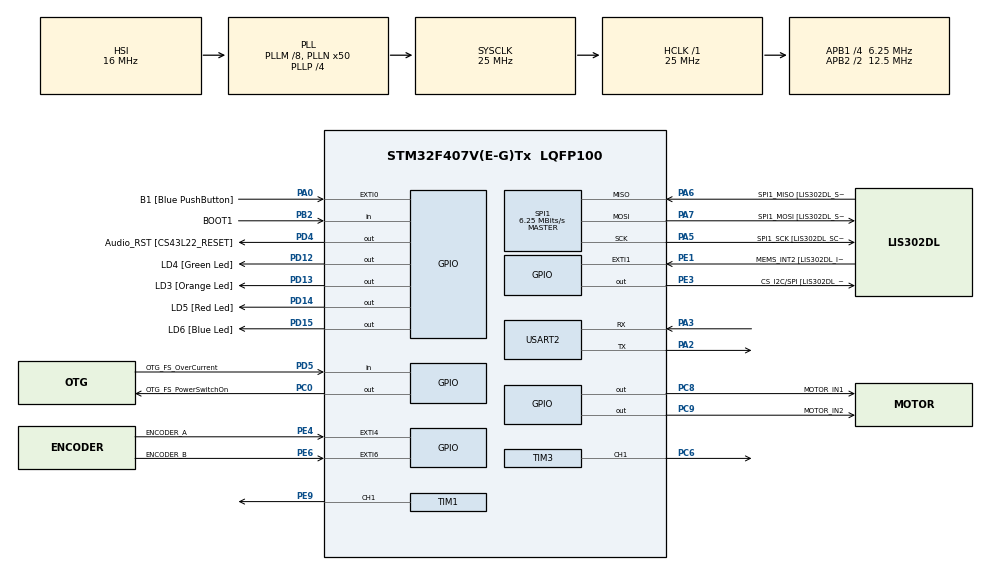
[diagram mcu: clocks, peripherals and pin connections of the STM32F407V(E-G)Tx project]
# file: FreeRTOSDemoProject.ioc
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Mcu.Family=STM32F4
Mcu.Name=STM32F407V(E-G)Tx
Mcu.Package=LQFP100
NVIC.EXTI4_IRQn=true\:0\:0\:false\:false\:true\:true\:true\:true
NVIC.EXTI9_5_IRQn=true\:0\:0\:false\:false\:true\:true\:true\:true
NVIC.PriorityGroup=NVIC_PRIORITYGROUP_4
NVIC.TIM6_DAC_IRQn=true\:15\:0\:false\:false\:true\:false\:true\:true
NVIC.TIM7_IRQn=true\:0\:0\:false\:false\:true\:true\:true\:true
NVIC.TimeBase=TIM6_DAC_IRQn
NVIC.TimeBaseIP=TIM6
NVIC.USART2_IRQn=true\:6\:0\:true\:false\:true\:true\:true\:true
PA0-WKUP.GPIO_Label=B1 [Blue PushButton]
PA0-WKUP.Signal=GPXTI0
PA10.GPIO_Label=OTG_FS_ID
PA10.GPIO_Mode=GPIO_MODE_AF_PP
PA10.GPIO_PuPd=GPIO_NOPULL
PA10.GPIO_Speed=GPIO_SPEED_FREQ_LOW
PA10.Signal=USB_OTG_FS_ID
PA11.GPIO_Label=OTG_FS_DM
PA11.GPIO_Mode=GPIO_MODE_AF_PP
PA11.GPIO_PuPd=GPIO_NOPULL
PA11.GPIO_Speed=GPIO_SPEED_FREQ_LOW
PA11.Signal=USB_OTG_FS_DM
PA12.GPIO_Label=OTG_FS_DP
PA12.GPIO_Mode=GPIO_MODE_AF_PP
PA12.GPIO_PuPd=GPIO_NOPULL
PA12.GPIO_Speed=GPIO_SPEED_FREQ_LOW
PA12.Signal=USB_OTG_FS_DP
PA13.GPIO_Label=SWDIO
PA13.Signal=SYS_JTMS-SWDIO
PA14.GPIO_Label=SWCLK
PA14.Signal=SYS_JTCK-SWCLK
PA2.Mode=Asynchronous
PA2.Signal=USART2_TX
PA3.Mode=Asynchronous
PA3.Signal=USART2_RX
PA4.GPIO_Label=I2S3_WS [CS43L22_LRCK]
PA4.GPIO_Mode=GPIO_MODE_AF_PP
PA4.GPIO_PuPd=GPIO_NOPULL
PA4.GPIO_Speed=GPIO_SPEED_FREQ_LOW
PA4.Signal=I2S3_WS
PA5.GPIO_Label=SPI1_SCK [LIS302DL_SCL/SPC]
PA5.GPIO_Mode=GPIO_MODE_AF_PP
PA5.GPIO_PuPd=GPIO_NOPULL
PA5.GPIO_Speed=GPIO_SPEED_FREQ_VERY_HIGH
PA5.Mode=Full_Duplex_Master
PA5.Signal=SPI1_SCK
PA6.GPIO_Label=SPI1_MISO [LIS302DL_SDO]
PA6.GPIO_Mode=GPIO_MODE_AF_PP
PA6.GPIO_PuPd=GPIO_NOPULL
PA6.GPIO_Speed=GPIO_SPEED_FREQ_VERY_HIGH
PA6.Mode=Full_Duplex_Master
PA6.Signal=SPI1_MISO
PA7.GPIO_Label=SPI1_MOSI [LIS302DL_SDA/SDI/SDO]
PA7.GPIO_Mode=GPIO_MODE_AF_PP
PA7.GPIO_PuPd=GPIO_NOPULL
PA7.GPIO_Speed=GPIO_SPEED_FREQ_VERY_HIGH
PA7.Mode=Full_Duplex_Master
PA7.Signal=SPI1_MOSI
PA9.GPIO_Label=VBUS_FS
PA9.GPIO_Mode=GPIO_MODE_INPUT
PA9.GPIO_PuPd=GPIO_NOPULL
PA9.Signal=USB_OTG_FS_VBUS
PB10.GPIO_Label=CLK_IN [MP45DT02_CLK]
PB10.GPIO_Mode=GPIO_MODE_AF_PP
PB10.GPIO_PuPd=GPIO_NOPULL
PB10.GPIO_Speed=GPIO_SPEED_FREQ_LOW
PB10.Signal=I2S2_CK
PB2.GPIO_Label=BOOT1
PB2.GPIO_Mode=GPIO_MODE_INPUT
PB2.GPIO_PuPd=GPIO_NOPULL
PB2.Signal=GPIO_Input
PB3.GPIO_Label=SWO
PB3.Signal=SYS_JTDO-SWO
PB6.GPIO_Label=Audio_SCL [CS43L22_SCL]
PB6.GPIO_Mode=GPIO_MODE_AF_OD
PB6.GPIO_Pu=GPIO_PULLUP
PB6.GPIO_PuPd=GPIO_NOPULL
PB6.GPIO_Speed=GPIO_SPEED_FREQ_HIGH
PB6.Signal=I2C1_SCL
PB9.GPIO_Label=Audio_SDA [CS43L22_SDA]
PB9.GPIO_Mode=GPIO_MODE_AF_OD
PB9.GPIO_Pu=GPIO_PULLUP
PB9.GPIO_PuPd=GPIO_NOPULL
PB9.GPIO_Speed=GPIO_SPEED_FREQ_HIGH
PB9.Signal=I2C1_SDA
PC0.GPIO_Label=OTG_FS_PowerSwitchOn
PC0.GPIO_PuPd=GPIO_NOPULL
PC0.GPIO_Speed=GPIO_SPEED_FREQ_LOW
PC0.PinState=GPIO_PIN_SET
PC0.Signal=GPIO_Output
PC10.GPIO_Label=I2S3_SCK [CS43L22_SCLK]
PC10.GPIO_Mode=GPIO_MODE_AF_PP
PC10.GPIO_PuPd=GPIO_NOPULL
PC10.GPIO_Speed=GPIO_SPEED_FREQ_LOW
PC10.Signal=I2S3_CK
PC12.GPIO_Label=I2S3_SD [CS43L22_SDIN]
PC12.GPIO_Mode=GPIO_MODE_AF_PP
PC12.GPIO_PuPd=GPIO_NOPULL
PC12.GPIO_Speed=GPIO_SPEED_FREQ_LOW
PC12.Signal=I2S3_SD
PC14-OSC32_IN.GPIO_Label=PC14-OSC32_IN
PC14-OSC32_IN.Signal=RCC_OSC32_IN
PC15-OSC32_OUT.GPIO_Label=PC15-OSC32_OUT
PC15-OSC32_OUT.Signal=RCC_OSC32_OUT
PC3.GPIO_Label=PDM_OUT [MP45DT02_DOUT]
PC3.GPIO_Mode=GPIO_MODE_AF_PP
PC3.GPIO_PuPd=GPIO_NOPULL
PC3.GPIO_Speed=GPIO_SPEED_FREQ_LOW
PC3.Signal=I2S2_SD
PC6.Signal=S_TIM3_CH1
PC7.GPIO_Label=I2S3_MCK [CS43L22_MCLK]
PC7.GPIO_Mode=GPIO_MODE_AF_PP
PC7.GPIO_PuPd=GPIO_NOPULL
PC7.GPIO_Speed=GPIO_SPEED_FREQ_LOW
PC7.Signal=I2S3_MCK
PC8.GPIO_Label=MOTOR_IN1
PC8.Signal=GPIO_Output
PC9.GPIO_Label=MOTOR_IN2
PC9.Signal=GPIO_Output
PD12.GPIO_Label=LD4 [Green Led]
PD12.GPIO_PuPd=GPIO_NOPULL
PD12.GPIO_Speed=GPIO_SPEED_FREQ_LOW
PD12.Signal=GPIO_Output
PD13.GPIO_Label=LD3 [Orange Led]
PD13.GPIO_PuPd=GPIO_NOPULL
PD13.GPIO_Speed=GPIO_SPEED_FREQ_LOW
PD13.Signal=GPIO_Output
PD14.GPIO_Label=LD5 [Red Led]
PD14.GPIO_PuPd=GPIO_NOPULL
PD14.GPIO_Speed=GPIO_SPEED_FREQ_LOW
PD14.Signal=GPIO_Output
PD15.GPIO_Label=LD6 [Blue Led]
PD15.GPIO_PuPd=GPIO_NOPULL
PD15.GPIO_Speed=GPIO_SPEED_FREQ_LOW
PD15.Signal=GPIO_Output
PD4.GPIO_Label=Audio_RST [CS43L22_RESET]
PD4.GPIO_PuPd=GPIO_NOPULL
PD4.GPIO_Speed=GPIO_SPEED_FREQ_LOW
PD4.Signal=GPIO_Output
PD5.GPIO_Label=OTG_FS_OverCurrent
PD5.GPIO_Mode=GPIO_MODE_INPUT
PD5.GPIO_PuPd=GPIO_NOPULL
PD5.Signal=GPIO_Input
PE1.GPIO_Label=MEMS_INT2 [LIS302DL_INT2]
PE1.GPIO_ModeDefaultEXTI=GPIO_MODE_EVT_RISING
PE1.GPIO_PuPd=GPIO_NOPULL
PE1.Signal=GPXTI1
PE3.GPIO_Label=CS_I2C/SPI [LIS302DL_CS_I2C/SPI]
PE3.GPIO_PuPd=GPIO_NOPULL
PE3.GPIO_Speed=GPIO_SPEED_FREQ_LOW
PE3.Signal=GPIO_Output
PE4.GPIO_Label=ENCODER_A
PE4.GPIO_ModeDefaultEXTI=GPIO_MODE_IT_RISING_FALLING
PE4.Signal=GPXTI4
PE6.GPIO_Label=ENCODER_B
PE6.GPIO_ModeDefaultEXTI=GPIO_MODE_IT_RISING_FALLING
PE6.Signal=GPXTI6
PE9.Signal=S_TIM1_CH1
PH0-OSC_IN.GPIO_Label=PH0-OSC_IN
PH0-OSC_IN.Mode=HSE-External-Oscillator
PH0-OSC_IN.Signal=RCC_OSC_IN
PH1-OSC_OUT.GPIO_Label=PH1-OSC_OUT
PH1-OSC_OUT.Mode=HSE-External-Oscillator
PH1-OSC_OUT.Signal=RCC_OSC_OUT
ProjectManager.HeapSize=0x200
ProjectManager.StackSize=0x400
ProjectManager.TargetToolchain=STM32CubeIDE
RCC.48MHZClocksFreq_Value=14285714.285714285
RCC.AHBFreq_Value=25000000
RCC.APB1CLKDivider=RCC_HCLK_DIV4
RCC.APB1Freq_Value=6250000
RCC.APB1TimFreq_Value=12500000
RCC.APB2CLKDivider=RCC_HCLK_DIV2
RCC.APB2Freq_Value=12500000
RCC.APB2TimFreq_Value=25000000
RCC.CortexFreq_Value=25000000
RCC.HCLKFreq_Value=25000000
RCC.HSE_VALUE=8000000
RCC.HSI_VALUE=16000000
RCC.LSE_VALUE=32768
RCC.PLLM=8
RCC.PLLN=50
RCC.PLLP=RCC_PLLP_DIV4
RCC.PLLQ=7
RCC.SYSCLKFreq_VALUE=25000000
RCC.SYSCLKSource=RCC_SYSCLKSOURCE_PLLCLK
RCC.VCOOutputFreq_Value=100000000
RTC.HourFormat=RTC_HOURFORMAT_12
SH.S_TIM1_CH1.0=TIM1_CH1,PWM Generation1 CH1
SH.S_TIM3_CH1.0=TIM3_CH1,PWM Generation1 CH1
SPI1.CalculateBaudRate=6.25 MBits/s
SPI1.Direction=SPI_DIRECTION_2LINES
SPI1.Mode=SPI_MODE_MASTER
SPI1.VirtualType=VM_MASTER
TIM1.Channel-PWM\ Generation1\ CH1=TIM_CHANNEL_1
TIM3.AutoReloadPreload=TIM_AUTORELOAD_PRELOAD_ENABLE
TIM3.Channel-PWM\ Generation1\ CH1=TIM_CHANNEL_1
TIM3.Period=999
TIM3.Prescaler=24
TIM3.Pulse-PWM\ Generation1\ CH1=499
TIM7.AutoReloadPreload=TIM_AUTORELOAD_PRELOAD_DISABLE
TIM7.Period=99
TIM7.Prescaler=2499
USART2.VirtualMode=VM_ASYNC
VP_RTC_VS_RTC_Activate.Mode=RTC_Enabled
VP_SYS_VS_tim6.Mode=TIM6
VP_TIM3_VS_ClockSourceINT.Mode=Internal
VP_TIM7_VS_ClockSourceINT.Mode=Enable_Timer
board=STM32F407G-DISC1

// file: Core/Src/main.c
/* USER CODE BEGIN Header */
/**
  ******************************************************************************
  * @file           : main.c
  * @brief          : Main program body
  ******************************************************************************
  * @attention
  *
  * Copyright (c) 2024 STMicroelectronics.
  * All rights reserved.
  *
  * This software is licensed under terms that can be found in the LICENSE file
  * in the root directory of this software component.
  * If no LICENSE file comes with this software, it is provided AS-IS.
  *
  ******************************************************************************
  */
/* USER CODE END Header */
#include "main.h"

/* USER CODE BEGIN Includes */

#include "LedManager.h"
#include "Config_LedManager.h"
#include "RtcManager.h"
#include "AccManager.h"
#include "MotorManager.h"
#include "Config_MotorManager.h"

/* USER CODE END Includes */

RTC_HandleTypeDef hrtc;

SPI_HandleTypeDef hspi1;

TIM_HandleTypeDef htim1;
TIM_HandleTypeDef htim3;
TIM_HandleTypeDef htim7;

UART_HandleTypeDef huart2;

/* USER CODE BEGIN PV */

#define DWT_CTRL	(*(volatile uint32_t*)0xE0001000)

// Task handles
xTaskHandle handle_main_menu_task;
xTaskHandle handle_message_handler_task;
xTaskHandle handle_print_task;
xTaskHandle handle_led_task;
xTaskHandle handle_rtc_task;
xTaskHandle handle_acc_task;
xTaskHandle handle_motor_task;

// Queue handles
QueueHandle_t q_print;
QueueHandle_t q_data;

// Software timer handles
TimerHandle_t handle_led_timer[4];
TimerHandle_t motor_report_timer;

// Event group handles
EventGroupHandle_t ledEventGroup;

// Semaphore handles
SemaphoreHandle_t rtcSemaphore;
SemaphoreHandle_t ledOffSemaphore;

// UART buffer
volatile uint8_t user_data;

// State variable
system_state_t curr_sys_state = sMainMenu;

/* USER CODE END PV */

void SystemClock_Config(void);
static void MX_GPIO_Init(void);
static void MX_USART2_UART_Init(void);
static void MX_RTC_Init(void);
static void MX_SPI1_Init(void);
static void MX_TIM3_Init(void);
static void MX_TIM1_Init(void);
static void MX_TIM7_Init(void);

int main(void)
{

  /* USER CODE BEGIN 1 */

  BaseType_t status;

  /* USER CODE END 1 */

  /* MCU Configuration--------------------------------------------------------*/

  /* Reset of all peripherals, Initializes the Flash interface and the Systick. */
  HAL_Init();

  /* Configure the system clock */
  SystemClock_Config();

  /* Initialize all configured peripherals */
  MX_GPIO_Init();
  MX_USART2_UART_Init();
  MX_RTC_Init();
  MX_SPI1_Init();
  MX_TIM3_Init();
  MX_TIM1_Init();
  MX_TIM7_Init();
  /* USER CODE BEGIN 2 */

  // Enable the CYCCNT counter
  DWT_CTRL |= (1 << 0);

  // Start SEGGER recording
  SEGGER_SYSVIEW_Conf();
  SEGGER_SYSVIEW_Start();

  // Initialize the accelerometer
  accelerometer_init();

  // Create main menu task and check that it was created successfully
  status = xTaskCreate(main_menu_task, "main_menu_task", 250, NULL, 2, &handle_main_menu_task);
  configASSERT(pdPASS == status);

  // Create message handler task and check that it was created successfully
  status = xTaskCreate(message_handler_task, "msg_task", 250, NULL, 2, &handle_message_handler_task);
  configASSERT(pdPASS == status);

  // Create print task and check that it was created successfully
  status = xTaskCreate(print_task, "print_task", 250, NULL, 2, &handle_print_task);
  configASSERT(pdPASS == status);

  // Create LED task and check that it was created successfully
  status = xTaskCreate(led_task, "led_task", 250, NULL, 2, &handle_led_task);
  configASSERT(pdPASS == status);

  // Create RTC task and check that it was created successfully
  status = xTaskCreate(rtc_task, "rtc_task", 250, NULL, 2, &handle_rtc_task);
  configASSERT(pdPASS == status);

  // Create accelerometer task and check that it was created successfully
  status = xTaskCreate(acc_task, "accelerometer_task", 250, NULL, 2, &handle_acc_task);
  configASSERT(pdPASS == status);

  // Create motor task and check that it was created successfully
  status = xTaskCreate(motor_task, "motor_task", 250, NULL, 2, &handle_motor_task);
  configASSERT(pdPASS == status);

  // Create data queue and check that it was created successfully
  q_data = xQueueCreate(10, sizeof(char));
  configASSERT(NULL != q_data);

  // Create print queue and check that it was created successfully
  q_print = xQueueCreate(10, sizeof(size_t));
  configASSERT(NULL != q_print);

  // Create an event group to synchronize accelerometer readings and LED triggers
  ledEventGroup = xEventGroupCreate();
  configASSERT(NULL != ledEventGroup);

  // Create a binary semaphore to synchronize RTC configuration and LED triggers
  rtcSemaphore = xSemaphoreCreateBinary();
  configASSERT(NULL != rtcSemaphore);

  // Create a binary semaphore to synchronize LEDs off after exiting RTC menu
  ledOffSemaphore = xSemaphoreCreateBinary();
  configASSERT(NULL != ledOffSemaphore);

  // Create software timers for LED effects
  for(int i=0; i<NUM_LED_TIMERS; i++) {
	  handle_led_timer[i] = xTimerCreate("led_timer", pdMS_TO_TICKS(500), pdTRUE, (void*)i, led_callback);
  }

  // Create software timer for reporting motor speed
  motor_report_timer = xTimerCreate("motor_report_timer", pdMS_TO_TICKS(1000), pdTRUE, NULL, (void*)motor_report_callback);

  // Start the timer interrupt for motor velocity calculation timer
  HAL_TIM_Base_Start_IT(&htim7);

  // Prepare UART to receive a message
  HAL_UART_Receive_IT(&huart2, (uint8_t*)&user_data, 1);

  // Start PWM generation
  HAL_TIM_PWM_Start(&htim3, TIM_CHANNEL_1);

  // Start the kernel
  vTaskStartScheduler();

  /* USER CODE END 2 */

  /* Infinite loop */
  while (1)
  {

  }
}

void SystemClock_Config(void)
{
  RCC_OscInitTypeDef RCC_OscInitStruct = {0};
  RCC_ClkInitTypeDef RCC_ClkInitStruct = {0};

  /** Configure the main internal regulator output voltage
  */
  __HAL_RCC_PWR_CLK_ENABLE();
  __HAL_PWR_VOLTAGESCALING_CONFIG(PWR_REGULATOR_VOLTAGE_SCALE1);

  /** Initializes the RCC Oscillators according to the specified parameters
  * in the RCC_OscInitTypeDef structure.
  */
  RCC_OscInitStruct.OscillatorType = RCC_OSCILLATORTYPE_HSI|RCC_OSCILLATORTYPE_LSI;
  RCC_OscInitStruct.HSIState = RCC_HSI_ON;
  RCC_OscInitStruct.HSICalibrationValue = RCC_HSICALIBRATION_DEFAULT;
  RCC_OscInitStruct.LSIState = RCC_LSI_ON;
  RCC_OscInitStruct.PLL.PLLState = RCC_PLL_ON;
  RCC_OscInitStruct.PLL.PLLSource = RCC_PLLSOURCE_HSI;
  RCC_OscInitStruct.PLL.PLLM = 8;
  RCC_OscInitStruct.PLL.PLLN = 50;
  RCC_OscInitStruct.PLL.PLLP = RCC_PLLP_DIV4;
  RCC_OscInitStruct.PLL.PLLQ = 7;
  if (HAL_RCC_OscConfig(&RCC_OscInitStruct) != HAL_OK)
  {
    Error_Handler();
  }

  /** Initializes the CPU, AHB and APB buses clocks
  */
  RCC_ClkInitStruct.ClockType = RCC_CLOCKTYPE_HCLK|RCC_CLOCKTYPE_SYSCLK
                              |RCC_CLOCKTYPE_PCLK1|RCC_CLOCKTYPE_PCLK2;
  RCC_ClkInitStruct.SYSCLKSource = RCC_SYSCLKSOURCE_PLLCLK;
  RCC_ClkInitStruct.AHBCLKDivider = RCC_SYSCLK_DIV1;
  RCC_ClkInitStruct.APB1CLKDivider = RCC_HCLK_DIV4;
  RCC_ClkInitStruct.APB2CLKDivider = RCC_HCLK_DIV2;

  if (HAL_RCC_ClockConfig(&RCC_ClkInitStruct, FLASH_LATENCY_0) != HAL_OK)
  {
    Error_Handler();
  }
}

static void MX_RTC_Init(void)
{

  /** Initialize RTC Only
  */
  hrtc.Instance = RTC;
  hrtc.Init.HourFormat = RTC_HOURFORMAT_12;
  hrtc.Init.AsynchPrediv = 127;
  hrtc.Init.SynchPrediv = 255;
  hrtc.Init.OutPut = RTC_OUTPUT_DISABLE;
  hrtc.Init.OutPutPolarity = RTC_OUTPUT_POLARITY_HIGH;
  hrtc.Init.OutPutType = RTC_OUTPUT_TYPE_OPENDRAIN;
  if (HAL_RTC_Init(&hrtc) != HAL_OK)
  {
    Error_Handler();
  }

}

static void MX_SPI1_Init(void)
{

  /* SPI1 parameter configuration*/
  hspi1.Instance = SPI1;
  hspi1.Init.Mode = SPI_MODE_MASTER;
  hspi1.Init.Direction = SPI_DIRECTION_2LINES;
  hspi1.Init.DataSize = SPI_DATASIZE_8BIT;
  hspi1.Init.CLKPolarity = SPI_POLARITY_LOW;
  hspi1.Init.CLKPhase = SPI_PHASE_1EDGE;
  hspi1.Init.NSS = SPI_NSS_SOFT;
  hspi1.Init.BaudRatePrescaler = SPI_BAUDRATEPRESCALER_2;
  hspi1.Init.FirstBit = SPI_FIRSTBIT_MSB;
  hspi1.Init.TIMode = SPI_TIMODE_DISABLE;
  hspi1.Init.CRCCalculation = SPI_CRCCALCULATION_DISABLE;
  hspi1.Init.CRCPolynomial = 10;
  if (HAL_SPI_Init(&hspi1) != HAL_OK)
  {
    Error_Handler();
  }

}

static void MX_TIM1_Init(void)
{

  TIM_MasterConfigTypeDef sMasterConfig = {0};
  TIM_OC_InitTypeDef sConfigOC = {0};
  TIM_BreakDeadTimeConfigTypeDef sBreakDeadTimeConfig = {0};

  htim1.Instance = TIM1;
  htim1.Init.Prescaler = 0;
  htim1.Init.CounterMode = TIM_COUNTERMODE_UP;
  htim1.Init.Period = 65535;
  htim1.Init.ClockDivision = TIM_CLOCKDIVISION_DIV1;
  htim1.Init.RepetitionCounter = 0;
  htim1.Init.AutoReloadPreload = TIM_AUTORELOAD_PRELOAD_DISABLE;
  if (HAL_TIM_PWM_Init(&htim1) != HAL_OK)
  {
    Error_Handler();
  }
  sMasterConfig.MasterOutputTrigger = TIM_TRGO_RESET;
  sMasterConfig.MasterSlaveMode = TIM_MASTERSLAVEMODE_DISABLE;
  if (HAL_TIMEx_MasterConfigSynchronization(&htim1, &sMasterConfig) != HAL_OK)
  {
    Error_Handler();
  }
  sConfigOC.OCMode = TIM_OCMODE_PWM1;
  sConfigOC.Pulse = 0;
  sConfigOC.OCPolarity = TIM_OCPOLARITY_HIGH;
  sConfigOC.OCNPolarity = TIM_OCNPOLARITY_HIGH;
  sConfigOC.OCFastMode = TIM_OCFAST_DISABLE;
  sConfigOC.OCIdleState = TIM_OCIDLESTATE_RESET;
  sConfigOC.OCNIdleState = TIM_OCNIDLESTATE_RESET;
  if (HAL_TIM_PWM_ConfigChannel(&htim1, &sConfigOC, TIM_CHANNEL_1) != HAL_OK)
  {
    Error_Handler();
  }
  sBreakDeadTimeConfig.OffStateRunMode = TIM_OSSR_DISABLE;
  sBreakDeadTimeConfig.OffStateIDLEMode = TIM_OSSI_DISABLE;
  sBreakDeadTimeConfig.LockLevel = TIM_LOCKLEVEL_OFF;
  sBreakDeadTimeConfig.DeadTime = 0;
  sBreakDeadTimeConfig.BreakState = TIM_BREAK_DISABLE;
  sBreakDeadTimeConfig.BreakPolarity = TIM_BREAKPOLARITY_HIGH;
  sBreakDeadTimeConfig.AutomaticOutput = TIM_AUTOMATICOUTPUT_DISABLE;
  if (HAL_TIMEx_ConfigBreakDeadTime(&htim1, &sBreakDeadTimeConfig) != HAL_OK)
  {
    Error_Handler();
  }
  HAL_TIM_MspPostInit(&htim1);

}

static void MX_TIM3_Init(void)
{

  TIM_ClockConfigTypeDef sClockSourceConfig = {0};
  TIM_MasterConfigTypeDef sMasterConfig = {0};
  TIM_OC_InitTypeDef sConfigOC = {0};

  htim3.Instance = TIM3;
  htim3.Init.Prescaler = 24;
  htim3.Init.CounterMode = TIM_COUNTERMODE_UP;
  htim3.Init.Period = 999;
  htim3.Init.ClockDivision = TIM_CLOCKDIVISION_DIV1;
  htim3.Init.AutoReloadPreload = TIM_AUTORELOAD_PRELOAD_ENABLE;
  if (HAL_TIM_Base_Init(&htim3) != HAL_OK)
  {
    Error_Handler();
  }
  sClockSourceConfig.ClockSource = TIM_CLOCKSOURCE_INTERNAL;
  if (HAL_TIM_ConfigClockSource(&htim3, &sClockSourceConfig) != HAL_OK)
  {
    Error_Handler();
  }
  if (HAL_TIM_PWM_Init(&htim3) != HAL_OK)
  {
    Error_Handler();
  }
  sMasterConfig.MasterOutputTrigger = TIM_TRGO_RESET;
  sMasterConfig.MasterSlaveMode = TIM_MASTERSLAVEMODE_DISABLE;
  if (HAL_TIMEx_MasterConfigSynchronization(&htim3, &sMasterConfig) != HAL_OK)
  {
    Error_Handler();
  }
  sConfigOC.OCMode = TIM_OCMODE_PWM1;
  sConfigOC.Pulse = 499;
  sConfigOC.OCPolarity = TIM_OCPOLARITY_HIGH;
  sConfigOC.OCFastMode = TIM_OCFAST_DISABLE;
  if (HAL_TIM_PWM_ConfigChannel(&htim3, &sConfigOC, TIM_CHANNEL_1) != HAL_OK)
  {
    Error_Handler();
  }
  HAL_TIM_MspPostInit(&htim3);

}

static void MX_TIM7_Init(void)
{

  TIM_MasterConfigTypeDef sMasterConfig = {0};

  htim7.Instance = TIM7;
  htim7.Init.Prescaler = 2499;
  htim7.Init.CounterMode = TIM_COUNTERMODE_UP;
  htim7.Init.Period = 99;
  htim7.Init.AutoReloadPreload = TIM_AUTORELOAD_PRELOAD_DISABLE;
  if (HAL_TIM_Base_Init(&htim7) != HAL_OK)
  {
    Error_Handler();
  }
  sMasterConfig.MasterOutputTrigger = TIM_TRGO_RESET;
  sMasterConfig.MasterSlaveMode = TIM_MASTERSLAVEMODE_DISABLE;
  if (HAL_TIMEx_MasterConfigSynchronization(&htim7, &sMasterConfig) != HAL_OK)
  {
    Error_Handler();
  }

}

static void MX_USART2_UART_Init(void)
{

  huart2.Instance = USART2;
  huart2.Init.BaudRate = 115200;
  huart2.Init.WordLength = UART_WORDLENGTH_8B;
  huart2.Init.StopBits = UART_STOPBITS_1;
  huart2.Init.Parity = UART_PARITY_NONE;
  huart2.Init.Mode = UART_MODE_TX_RX;
  huart2.Init.HwFlowCtl = UART_HWCONTROL_NONE;
  huart2.Init.OverSampling = UART_OVERSAMPLING_16;
  if (HAL_UART_Init(&huart2) != HAL_OK)
  {
    Error_Handler();
  }

}

static void MX_GPIO_Init(void)
{
  GPIO_InitTypeDef GPIO_InitStruct = {0};

  /* GPIO Ports Clock Enable */
  __HAL_RCC_GPIOE_CLK_ENABLE();
  __HAL_RCC_GPIOC_CLK_ENABLE();
  __HAL_RCC_GPIOH_CLK_ENABLE();
  __HAL_RCC_GPIOA_CLK_ENABLE();
  __HAL_RCC_GPIOB_CLK_ENABLE();
  __HAL_RCC_GPIOD_CLK_ENABLE();

  /*Configure GPIO pin Output Level */
  HAL_GPIO_WritePin(CS_I2C_SPI_GPIO_Port, CS_I2C_SPI_Pin, GPIO_PIN_RESET);

  /*Configure GPIO pin Output Level */
  HAL_GPIO_WritePin(OTG_FS_PowerSwitchOn_GPIO_Port, OTG_FS_PowerSwitchOn_Pin, GPIO_PIN_SET);

  /*Configure GPIO pin Output Level */
  HAL_GPIO_WritePin(GPIOD, LD4_Pin|LD3_Pin|LD5_Pin|LD6_Pin
                          |Audio_RST_Pin, GPIO_PIN_RESET);

  /*Configure GPIO pin Output Level */
  HAL_GPIO_WritePin(GPIOC, MOTOR_IN1_Pin|MOTOR_IN2_Pin, GPIO_PIN_RESET);

  /*Configure GPIO pin : CS_I2C_SPI_Pin */
  GPIO_InitStruct.Pin = CS_I2C_SPI_Pin;
  GPIO_InitStruct.Mode = GPIO_MODE_OUTPUT_PP;
  GPIO_InitStruct.Pull = GPIO_NOPULL;
  GPIO_InitStruct.Speed = GPIO_SPEED_FREQ_LOW;
  HAL_GPIO_Init(CS_I2C_SPI_GPIO_Port, &GPIO_InitStruct);

  /*Configure GPIO pins : ENCODER_A_Pin ENCODER_B_Pin */
  GPIO_InitStruct.Pin = ENCODER_A_Pin|ENCODER_B_Pin;
  GPIO_InitStruct.Mode = GPIO_MODE_IT_RISING_FALLING;
  GPIO_InitStruct.Pull = GPIO_NOPULL;
  HAL_GPIO_Init(GPIOE, &GPIO_InitStruct);

  /*Configure GPIO pins : OTG_FS_PowerSwitchOn_Pin MOTOR_IN1_Pin MOTOR_IN2_Pin */
  GPIO_InitStruct.Pin = OTG_FS_PowerSwitchOn_Pin|MOTOR_IN1_Pin|MOTOR_IN2_Pin;
  GPIO_InitStruct.Mode = GPIO_MODE_OUTPUT_PP;
  GPIO_InitStruct.Pull = GPIO_NOPULL;
  GPIO_InitStruct.Speed = GPIO_SPEED_FREQ_LOW;
  HAL_GPIO_Init(GPIOC, &GPIO_InitStruct);

  /*Configure GPIO pin : PDM_OUT_Pin */
  GPIO_InitStruct.Pin = PDM_OUT_Pin;
  GPIO_InitStruct.Mode = GPIO_MODE_AF_PP;
  GPIO_InitStruct.Pull = GPIO_NOPULL;
  GPIO_InitStruct.Speed = GPIO_SPEED_FREQ_LOW;
  GPIO_InitStruct.Alternate = GPIO_AF5_SPI2;
  HAL_GPIO_Init(PDM_OUT_GPIO_Port, &GPIO_InitStruct);

  /*Configure GPIO pin : B1_Pin */
  GPIO_InitStruct.Pin = B1_Pin;
  GPIO_InitStruct.Mode = GPIO_MODE_IT_RISING;
  GPIO_InitStruct.Pull = GPIO_NOPULL;
  HAL_GPIO_Init(B1_GPIO_Port, &GPIO_InitStruct);

  /*Configure GPIO pin : I2S3_WS_Pin */
  GPIO_InitStruct.Pin = I2S3_WS_Pin;
  GPIO_InitStruct.Mode = GPIO_MODE_AF_PP;
  GPIO_InitStruct.Pull = GPIO_NOPULL;
  GPIO_InitStruct.Speed = GPIO_SPEED_FREQ_LOW;
  GPIO_InitStruct.Alternate = GPIO_AF6_SPI3;
  HAL_GPIO_Init(I2S3_WS_GPIO_Port, &GPIO_InitStruct);

  /*Configure GPIO pin : BOOT1_Pin */
  GPIO_InitStruct.Pin = BOOT1_Pin;
  GPIO_InitStruct.Mode = GPIO_MODE_INPUT;
  GPIO_InitStruct.Pull = GPIO_NOPULL;
  HAL_GPIO_Init(BOOT1_GPIO_Port, &GPIO_InitStruct);

  /*Configure GPIO pin : CLK_IN_Pin */
  GPIO_InitStruct.Pin = CLK_IN_Pin;
  GPIO_InitStruct.Mode = GPIO_MODE_AF_PP;
  GPIO_InitStruct.Pull = GPIO_NOPULL;
  GPIO_InitStruct.Speed = GPIO_SPEED_FREQ_LOW;
  GPIO_InitStruct.Alternate = GPIO_AF5_SPI2;
  HAL_GPIO_Init(CLK_IN_GPIO_Port, &GPIO_InitStruct);

  /*Configure GPIO pins : LD4_Pin LD3_Pin LD5_Pin LD6_Pin
                           Audio_RST_Pin */
  GPIO_InitStruct.Pin = LD4_Pin|LD3_Pin|LD5_Pin|LD6_Pin
                          |Audio_RST_Pin;
  GPIO_InitStruct.Mode = GPIO_MODE_OUTPUT_PP;
  GPIO_InitStruct.Pull = GPIO_NOPULL;
  GPIO_InitStruct.Speed = GPIO_SPEED_FREQ_LOW;
  HAL_GPIO_Init(GPIOD, &GPIO_InitStruct);

  /*Configure GPIO pins : I2S3_MCK_Pin I2S3_SCK_Pin I2S3_SD_Pin */
  GPIO_InitStruct.Pin = I2S3_MCK_Pin|I2S3_SCK_Pin|I2S3_SD_Pin;
  GPIO_InitStruct.Mode = GPIO_MODE_AF_PP;
  GPIO_InitStruct.Pull = GPIO_NOPULL;
  GPIO_InitStruct.Speed = GPIO_SPEED_FREQ_LOW;
  GPIO_InitStruct.Alternate = GPIO_AF6_SPI3;
  HAL_GPIO_Init(GPIOC, &GPIO_InitStruct);

  /*Configure GPIO pin : VBUS_FS_Pin */
  GPIO_InitStruct.Pin = VBUS_FS_Pin;
  GPIO_InitStruct.Mode = GPIO_MODE_INPUT;
  GPIO_InitStruct.Pull = GPIO_NOPULL;
  HAL_GPIO_Init(VBUS_FS_GPIO_Port, &GPIO_InitStruct);

  /*Configure GPIO pins : OTG_FS_ID_Pin OTG_FS_DM_Pin OTG_FS_DP_Pin */
  GPIO_InitStruct.Pin = OTG_FS_ID_Pin|OTG_FS_DM_Pin|OTG_FS_DP_Pin;
  GPIO_InitStruct.Mode = GPIO_MODE_AF_PP;
  GPIO_InitStruct.Pull = GPIO_NOPULL;
  GPIO_InitStruct.Speed = GPIO_SPEED_FREQ_LOW;
  GPIO_InitStruct.Alternate = GPIO_AF10_OTG_FS;
  HAL_GPIO_Init(GPIOA, &GPIO_InitStruct);

  /*Configure GPIO pin : OTG_FS_OverCurrent_Pin */
  GPIO_InitStruct.Pin = OTG_FS_OverCurrent_Pin;
  GPIO_InitStruct.Mode = GPIO_MODE_INPUT;
  GPIO_InitStruct.Pull = GPIO_NOPULL;
  HAL_GPIO_Init(OTG_FS_OverCurrent_GPIO_Port, &GPIO_InitStruct);

  /*Configure GPIO pins : Audio_SCL_Pin Audio_SDA_Pin */
  GPIO_InitStruct.Pin = Audio_SCL_Pin|Audio_SDA_Pin;
  GPIO_InitStruct.Mode = GPIO_MODE_AF_OD;
  GPIO_InitStruct.Pull = GPIO_PULLUP;
  GPIO_InitStruct.Speed = GPIO_SPEED_FREQ_HIGH;
  GPIO_InitStruct.Alternate = GPIO_AF4_I2C1;
  HAL_GPIO_Init(GPIOB, &GPIO_InitStruct);

  /*Configure GPIO pin : MEMS_INT2_Pin */
  GPIO_InitStruct.Pin = MEMS_INT2_Pin;
  GPIO_InitStruct.Mode = GPIO_MODE_EVT_RISING;
  GPIO_InitStruct.Pull = GPIO_NOPULL;
  HAL_GPIO_Init(MEMS_INT2_GPIO_Port, &GPIO_InitStruct);

  /* EXTI interrupt init*/
  HAL_NVIC_SetPriority(EXTI4_IRQn, 0, 0);
  HAL_NVIC_EnableIRQ(EXTI4_IRQn);

  HAL_NVIC_SetPriority(EXTI9_5_IRQn, 0, 0);
  HAL_NVIC_EnableIRQ(EXTI9_5_IRQn);

}

/* USER CODE BEGIN 4 */

// This function is called from the UART interrupt handler, so it executes in the interrupt context
void HAL_UART_RxCpltCallback(UART_HandleTypeDef *huart)
{
	// Dummy variable used to replace final character in data queue
	uint8_t dummy;

	// Add a small delay to allow timing for message transmission
	for(uint32_t i=0; i<4000; i++);

	// Check if data is available via UART
	if(!xQueueIsQueueFullFromISR(q_data)) {
		// Enqueue data byte
		xQueueSendFromISR(q_data, (void*)&user_data, NULL);
	}
	// If no data available, check if last entered character is newline character
	else {
		if(user_data == '\n') {
			// Replace last byte of data queue with '\n'
			xQueueReceiveFromISR(q_data, (void*)&dummy, NULL);
			xQueueSendFromISR(q_data, (void*)&user_data, NULL);
		}
	}

	// Send notification to message handler task if user_data == '\n'
	if(user_data == '\n') {
		xTaskNotifyFromISR(handle_message_handler_task, 0, eNoAction, NULL);
	}

	// Enable UART data byte reception again in interrupt mode
	HAL_UART_Receive_IT(&huart2, (uint8_t*)&user_data, 1);

}

// This function is called from the GPIO interrupt handler, so it executes in the interrupt context
void HAL_GPIO_EXTI_Callback(uint16_t GPIO_Pin)
{
	if (GPIO_Pin == ENCODER_A_GPIO_Pin) {
		motor_gpio_callback(GPIO_Pin);
	}
	if (GPIO_Pin == ENCODER_B_GPIO_Pin) {
		motor_gpio_callback(GPIO_Pin);
	}
}

/* USER CODE END 4 */

void HAL_TIM_PeriodElapsedCallback(TIM_HandleTypeDef *htim)
{
  if (htim->Instance == TIM6) {
    HAL_IncTick();
  }
  /* USER CODE BEGIN Callback 1 */
  if (htim->Instance == TIM7) {
	motor_timer_callback(htim);
  }
  /* USER CODE END Callback 1 */
}

void Error_Handler(void)
{
  __disable_irq();
  while (1)
  {
  }
}
